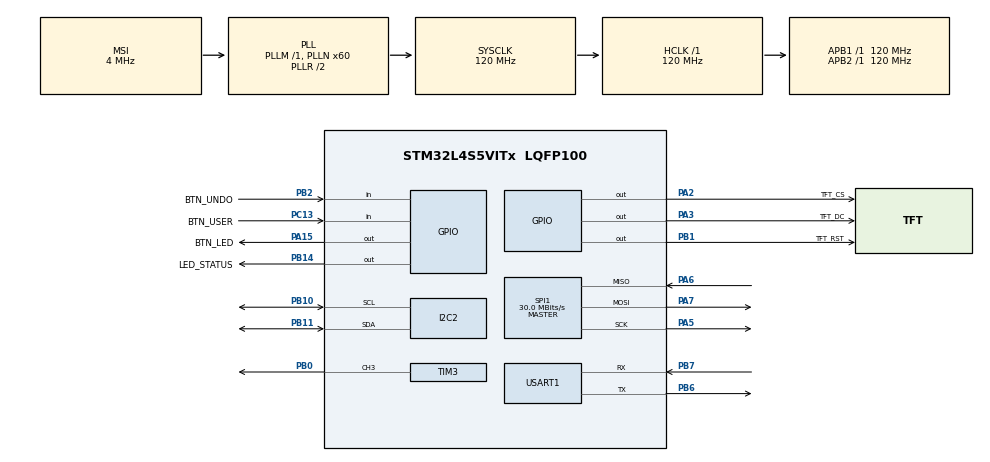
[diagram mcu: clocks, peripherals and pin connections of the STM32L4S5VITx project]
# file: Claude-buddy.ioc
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I2C2.Timing=0x30A175AB
Mcu.Family=STM32L4
Mcu.Name=STM32L4S5VITx
Mcu.Package=LQFP100
NVIC.PriorityGroup=NVIC_PRIORITYGROUP_4
NVIC.USART1_IRQn=true\:0\:0\:false\:false\:true\:true\:true\:true
PA13\ (JTMS/SWDIO).Mode=Serial_Wire
PA13\ (JTMS/SWDIO).Signal=SYS_JTMS-SWDIO
PA14\ (JTCK/SWCLK).Mode=Serial_Wire
PA14\ (JTCK/SWCLK).Signal=SYS_JTCK-SWCLK
PA15\ (JTDI).GPIO_Label=BTN_LED
PA15\ (JTDI).GPIO_PuPd=GPIO_NOPULL
PA15\ (JTDI).Signal=GPIO_Output
PA2.GPIO_Label=TFT_CS
PA2.GPIO_Speed=GPIO_SPEED_FREQ_VERY_HIGH
PA2.PinState=GPIO_PIN_SET
PA2.Signal=GPIO_Output
PA3.GPIO_Label=TFT_DC
PA3.GPIO_Speed=GPIO_SPEED_FREQ_VERY_HIGH
PA3.Signal=GPIO_Output
PA5.Mode=Full_Duplex_Master
PA5.Signal=SPI1_SCK
PA6.Mode=Full_Duplex_Master
PA6.Signal=SPI1_MISO
PA7.Mode=Full_Duplex_Master
PA7.Signal=SPI1_MOSI
PB0.Signal=S_TIM3_CH3
PB1.GPIO_Label=TFT_RST
PB1.PinState=GPIO_PIN_SET
PB1.Signal=GPIO_Output
PB10.Mode=I2C
PB10.Signal=I2C2_SCL
PB11.Mode=I2C
PB11.Signal=I2C2_SDA
PB14.GPIO_Label=LED_STATUS
PB14.Signal=GPIO_Output
PB2.GPIO_Label=BTN_UNDO
PB2.GPIO_PuPd=GPIO_PULLUP
PB2.Signal=GPIO_Input
PB6.Mode=Asynchronous
PB6.Signal=USART1_TX
PB7.Mode=Asynchronous
PB7.Signal=USART1_RX
PC13.GPIO_Label=BTN_USER
PC13.Signal=GPIO_Input
ProjectManager.HeapSize=0x200
ProjectManager.StackSize=0x400
ProjectManager.TargetToolchain=STM32CubeIDE
RCC.ADCFreq_Value=48000000
RCC.AHBFreq_Value=120000000
RCC.APB1Freq_Value=120000000
RCC.APB1TimFreq_Value=120000000
RCC.APB2Freq_Value=120000000
RCC.APB2TimFreq_Value=120000000
RCC.CortexFreq_Value=120000000
RCC.HCLKFreq_Value=120000000
RCC.HSE_VALUE=8000000
RCC.HSI48_VALUE=48000000
RCC.HSI_VALUE=16000000
RCC.LSE_VALUE=32768
RCC.MSI_VALUE=4000000
RCC.PLLN=60
RCC.PLLSAI1N=24
RCC.SYSCLKFreq_VALUE=120000000
RCC.SYSCLKSource=RCC_SYSCLKSOURCE_PLLCLK
RCC.USBFreq_Value=48000000
RCC.VCOOutputFreq_Value=240000000
SH.S_TIM3_CH3.0=TIM3_CH3,PWM Generation3 CH3
SPI1.BaudRatePrescaler=SPI_BAUDRATEPRESCALER_4
SPI1.CalculateBaudRate=30.0 MBits/s
SPI1.DataSize=SPI_DATASIZE_8BIT
SPI1.Direction=SPI_DIRECTION_2LINES
SPI1.Mode=SPI_MODE_MASTER
SPI1.VirtualType=VM_MASTER
TIM3.Channel-PWM\ Generation3\ CH3=TIM_CHANNEL_3
TIM3.Period=999
TIM3.Prescaler=5
TIM3.Pulse-PWM\ Generation3\ CH3=400
USART1.VirtualMode-Asynchronous=VM_ASYNC
board=B-L4S5I-IOT01A

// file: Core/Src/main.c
/* USER CODE BEGIN Header */
/**
  ******************************************************************************
  * @file           : main.c
  * @brief          : Main program body
  ******************************************************************************
  * @attention
  *
  * Copyright (c) 2026 STMicroelectronics.
  * All rights reserved.
  *
  * This software is licensed under terms that can be found in the LICENSE file
  * in the root directory of this software component.
  * If no LICENSE file comes with this software, it is provided AS-IS.
  *
  ******************************************************************************
  */
/* USER CODE END Header */
#include "main.h"
#include "i2c.h"
#include "spi.h"
#include "tim.h"
#include "usart.h"
#include "gpio.h"

/* USER CODE BEGIN Includes */
#include "ili9341.h"
#include "face.h"
#include "link.h"
#include "accel.h"
#include "audio.h"

/* USER CODE END Includes */

void SystemClock_Config(void);

/* USER CODE BEGIN 0 */

/* Simple debounced active-low button: returns 1 once per press. */
typedef struct {
  GPIO_TypeDef *port;
  uint16_t      pin;
  uint8_t       stable;      /* 1 = released (pull-up), 0 = pressed */
  uint8_t       last_raw;
  uint32_t      changed_at;
} Button;

static uint8_t Button_Pressed(Button *b, uint32_t now)
{
  uint8_t raw = (HAL_GPIO_ReadPin(b->port, b->pin) == GPIO_PIN_SET);
  if (raw != b->last_raw) {
    b->last_raw   = raw;
    b->changed_at = now;
  } else if (raw != b->stable && (now - b->changed_at) >= 30) {
    b->stable = raw;
    return (raw == 0);       /* fire on press, not release */
  }
  return 0;
}

static Button btn_undo = { BTN_UNDO_GPIO_Port, BTN_UNDO_Pin, 1, 1, 0 };
static Button btn_user = { BTN_USER_GPIO_Port, BTN_USER_Pin, 1, 1, 0 };

#define BACKLIGHT_PERCENT 70
#define OUCH_REACT_MS     1500

/* USER CODE END 0 */

int main(void)
{

  /* MCU Configuration--------------------------------------------------------*/

  /* Reset of all peripherals, Initializes the Flash interface and the Systick. */
  HAL_Init();

  /* Configure the system clock */
  SystemClock_Config();

  /* Initialize all configured peripherals */
  MX_GPIO_Init();
  MX_I2C2_Init();
  MX_USART1_UART_Init();
  MX_SPI1_Init();
  MX_TIM3_Init();
  /* USER CODE BEGIN 2 */
  TFT_Init();
  TFT_SetBacklight(BACKLIGHT_PERCENT);
  Face_Init();
  Link_Init();                       /* start listening to the laptop */
  if (!Accel_Init()) {               /* accelerometer for slap detection */
    Link_SendLine("ERR:ACCEL");      /* laptop logs a warning; everything else still works */
  }
  Audio_Init();                      /* DAC on PA4 (D7) -> capacitor -> speaker jack */
  Audio_Play("beep");                /* short beep at every start: proves the speaker wiring */

  /* USER CODE END 2 */

  /* Infinite loop */
  while (1)
  {

    /* USER CODE BEGIN 3 */
    uint32_t now = HAL_GetTick();
    Link_Poll();                       /* act on messages from the laptop */
    Face_Update(now);

    /* Heartbeat: green LD2 blinks at 2 Hz while the main loop is running. */
    HAL_GPIO_WritePin(LED_STATUS_GPIO_Port, LED_STATUS_Pin,
                      ((now / 250) & 1) ? GPIO_PIN_SET : GPIO_PIN_RESET);

    /* Big undo button: "> <" right away on the board, and tell the laptop,
     * which decides whether a redo is allowed and sends the next face. */
    if (Button_Pressed(&btn_undo, now)) {
      Face_React(FACE_OUCH, OUCH_REACT_MS);
      Link_SendButton();
    }
    HAL_GPIO_WritePin(BTN_LED_GPIO_Port, BTN_LED_Pin,
                      Face_GetMood() == FACE_OUCH ? GPIO_PIN_SET : GPIO_PIN_RESET);

    /* Tap on the head (accelerometer): one tap -> "SLAP", knock-knock ->
     * "KNOCK". The laptop decides what each one does. */
    uint16_t strength = 0;
    AccelEvent tap = Accel_Check(now, &strength);
    if (tap == ACCEL_SLAP) {
      Face_React(FACE_OUCH, OUCH_REACT_MS);
      Link_SendSlap(strength);
    } else if (tap == ACCEL_KNOCK) {
      Face_React(FACE_OUCH, OUCH_REACT_MS);
      Link_SendKnock(strength);
    } else if (tap == ACCEL_MAYBE) {
      Link_SendMaybe(strength);
    }

    /* Blue USER button cycles moods: normal -> happy -> sad -> ouch. */
    if (Button_Pressed(&btn_user, now)) {
      Face_SetMood((FaceMood)((Face_GetMood() + 1) % FACE_MOOD_COUNT));
    }
  }
  /* USER CODE END 3 */
}

void SystemClock_Config(void)
{
  RCC_OscInitTypeDef RCC_OscInitStruct = {0};
  RCC_ClkInitTypeDef RCC_ClkInitStruct = {0};

  /** Configure the main internal regulator output voltage
  */
  if (HAL_PWREx_ControlVoltageScaling(PWR_REGULATOR_VOLTAGE_SCALE1_BOOST) != HAL_OK)
  {
    Error_Handler();
  }

  /** Initializes the RCC Oscillators according to the specified parameters
  * in the RCC_OscInitTypeDef structure.
  */
  RCC_OscInitStruct.OscillatorType = RCC_OSCILLATORTYPE_MSI;
  RCC_OscInitStruct.MSIState = RCC_MSI_ON;
  RCC_OscInitStruct.MSICalibrationValue = 0;
  RCC_OscInitStruct.MSIClockRange = RCC_MSIRANGE_6;
  RCC_OscInitStruct.PLL.PLLState = RCC_PLL_ON;
  RCC_OscInitStruct.PLL.PLLSource = RCC_PLLSOURCE_MSI;
  RCC_OscInitStruct.PLL.PLLM = 1;
  RCC_OscInitStruct.PLL.PLLN = 60;
  RCC_OscInitStruct.PLL.PLLP = RCC_PLLP_DIV2;
  RCC_OscInitStruct.PLL.PLLQ = RCC_PLLQ_DIV2;
  RCC_OscInitStruct.PLL.PLLR = RCC_PLLR_DIV2;
  if (HAL_RCC_OscConfig(&RCC_OscInitStruct) != HAL_OK)
  {
    Error_Handler();
  }

  /** Initializes the CPU, AHB and APB buses clocks
  */
  RCC_ClkInitStruct.ClockType = RCC_CLOCKTYPE_HCLK|RCC_CLOCKTYPE_SYSCLK
                              |RCC_CLOCKTYPE_PCLK1|RCC_CLOCKTYPE_PCLK2;
  RCC_ClkInitStruct.SYSCLKSource = RCC_SYSCLKSOURCE_PLLCLK;
  RCC_ClkInitStruct.AHBCLKDivider = RCC_SYSCLK_DIV1;
  RCC_ClkInitStruct.APB1CLKDivider = RCC_HCLK_DIV1;
  RCC_ClkInitStruct.APB2CLKDivider = RCC_HCLK_DIV1;

  if (HAL_RCC_ClockConfig(&RCC_ClkInitStruct, FLASH_LATENCY_5) != HAL_OK)
  {
    Error_Handler();
  }
}

void Error_Handler(void)
{
  __disable_irq();
  while (1)
  {
  }
}
